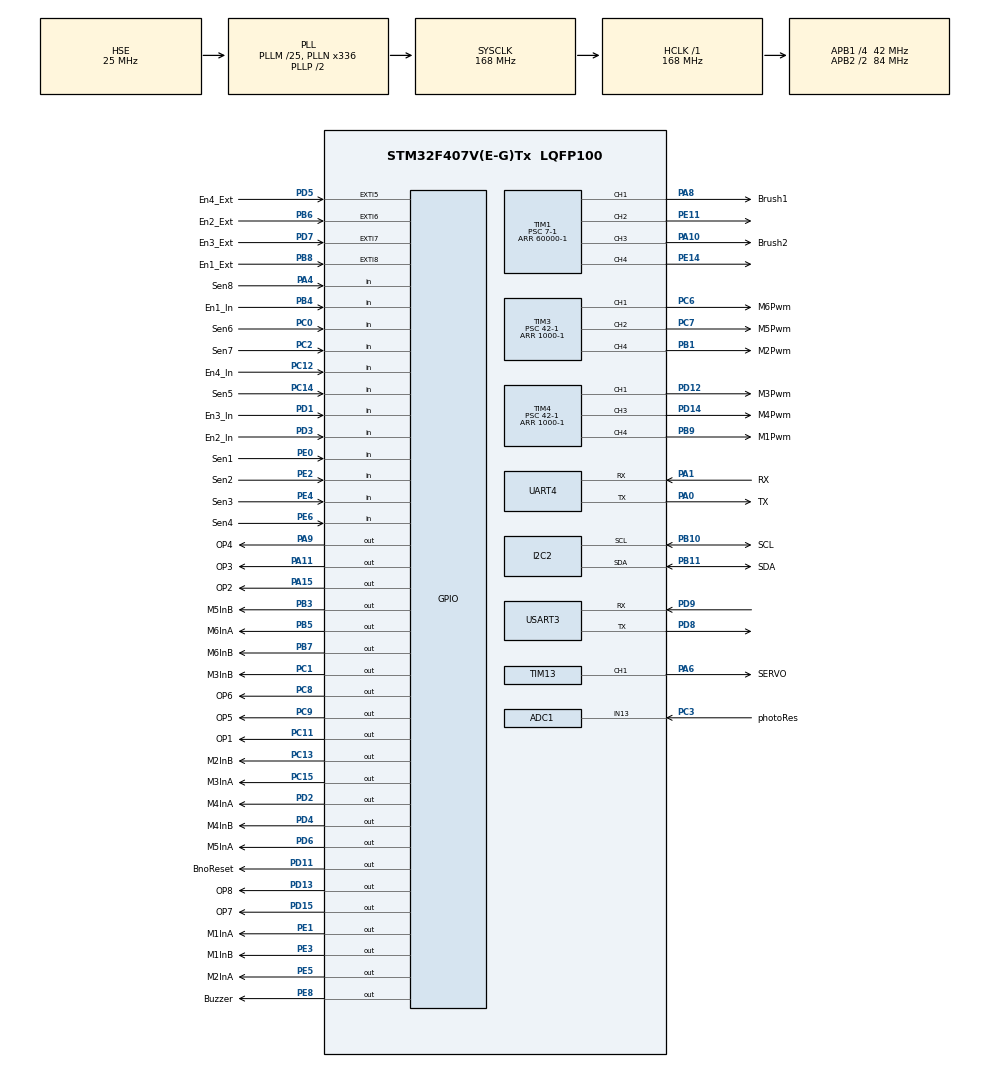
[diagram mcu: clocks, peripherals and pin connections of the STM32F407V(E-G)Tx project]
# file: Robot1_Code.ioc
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ADC1.Channel-0\#ChannelRegularConversion=ADC_CHANNEL_13
ADC1.NbrOfConversionFlag=1
ADC1.Rank-0\#ChannelRegularConversion=1
ADC1.SamplingTime-0\#ChannelRegularConversion=ADC_SAMPLETIME_3CYCLES
ADC1.master=1
Dma.Request0=UART4_TX
Dma.UART4_TX.0.Direction=DMA_MEMORY_TO_PERIPH
Dma.UART4_TX.0.FIFOMode=DMA_FIFOMODE_DISABLE
Dma.UART4_TX.0.Instance=DMA1_Stream4
Dma.UART4_TX.0.MemDataAlignment=DMA_MDATAALIGN_BYTE
Dma.UART4_TX.0.MemInc=DMA_MINC_ENABLE
Dma.UART4_TX.0.Mode=DMA_NORMAL
Dma.UART4_TX.0.PeriphDataAlignment=DMA_PDATAALIGN_BYTE
Dma.UART4_TX.0.PeriphInc=DMA_PINC_DISABLE
Dma.UART4_TX.0.Priority=DMA_PRIORITY_LOW
I2C2.I2C_Mode=I2C_Fast
Mcu.Family=STM32F4
Mcu.Name=STM32F407V(E-G)Tx
Mcu.Package=LQFP100
NVIC.DMA1_Stream4_IRQn=true\:0\:0\:false\:false\:true\:false\:true\:true
NVIC.EXTI9_5_IRQn=true\:0\:0\:false\:false\:true\:true\:true\:true
NVIC.PriorityGroup=NVIC_PRIORITYGROUP_4
NVIC.TIM7_IRQn=true\:0\:0\:false\:false\:true\:true\:true\:true
NVIC.USART3_IRQn=true\:0\:0\:false\:false\:true\:true\:true\:true
PA0-WKUP.GPIO_Label=TX
PA0-WKUP.Mode=Asynchronous
PA0-WKUP.Signal=UART4_TX
PA1.GPIO_Label=RX
PA1.Mode=Asynchronous
PA1.Signal=UART4_RX
PA10.GPIO_Label=Brush2
PA10.Signal=S_TIM1_CH3
PA11.GPIO_Label=OP3
PA11.Signal=GPIO_Output
PA13.Mode=Serial_Wire
PA13.Signal=SYS_JTMS-SWDIO
PA14.Mode=Serial_Wire
PA14.Signal=SYS_JTCK-SWCLK
PA15.GPIO_Label=OP2
PA15.Signal=GPIO_Output
PA4.GPIO_Label=Sen8
PA4.GPIO_PuPd=GPIO_PULLUP
PA4.Signal=GPIO_Input
PA6.GPIO_Label=SERVO
PA6.Signal=S_TIM13_CH1
PA8.GPIO_Label=Brush1
PA8.Signal=S_TIM1_CH1
PA9.GPIO_Label=OP4
PA9.Signal=GPIO_Output
PB1.GPIO_Label=M2Pwm
PB1.Signal=S_TIM3_CH4
PB10.GPIO_Label=SCL
PB10.Mode=I2C
PB10.Signal=I2C2_SCL
PB11.GPIO_Label=SDA
PB11.Mode=I2C
PB11.Signal=I2C2_SDA
PB3.GPIO_Label=M5InB
PB3.Signal=GPIO_Output
PB4.GPIO_Label=En1_In
PB4.GPIO_PuPd=GPIO_PULLUP
PB4.Signal=GPIO_Input
PB5.GPIO_Label=M6InA
PB5.Signal=GPIO_Output
PB6.GPIO_Label=En2_Ext
PB6.GPIO_ModeDefaultEXTI=GPIO_MODE_IT_RISING
PB6.Signal=GPXTI6
PB7.GPIO_Label=M6InB
PB7.Signal=GPIO_Output
PB8.GPIO_Label=En1_Ext
PB8.Signal=GPXTI8
PB9.GPIO_Label=M1Pwm
PB9.Signal=S_TIM4_CH4
PC0.GPIO_Label=Sen6
PC0.GPIO_PuPd=GPIO_PULLUP
PC0.Signal=GPIO_Input
PC1.GPIO_Label=M3InB
PC1.Signal=GPIO_Output
PC11.GPIO_Label=OP1
PC11.Signal=GPIO_Output
PC12.GPIO_Label=En4_In
PC12.GPIO_PuPd=GPIO_PULLUP
PC12.Signal=GPIO_Input
PC13-ANTI_TAMP.GPIO_Label=M2InB
PC13-ANTI_TAMP.Signal=GPIO_Output
PC14-OSC32_IN.GPIO_Label=Sen5
PC14-OSC32_IN.GPIO_PuPd=GPIO_PULLUP
PC14-OSC32_IN.Signal=GPIO_Input
PC15-OSC32_OUT.GPIO_Label=M3InA
PC15-OSC32_OUT.Signal=GPIO_Output
PC2.GPIO_Label=Sen7
PC2.GPIO_PuPd=GPIO_PULLUP
PC2.Signal=GPIO_Input
PC3.GPIO_Label=photoRes
PC3.Signal=SharedAnalog_PC3
PC6.GPIO_Label=M6Pwm
PC6.Signal=S_TIM3_CH1
PC7.GPIO_Label=M5Pwm
PC7.Signal=S_TIM3_CH2
PC8.GPIO_Label=OP6
PC8.Signal=GPIO_Output
PC9.GPIO_Label=OP5
PC9.Signal=GPIO_Output
PD1.GPIO_Label=En3_In
PD1.GPIO_PuPd=GPIO_PULLUP
PD1.Signal=GPIO_Input
PD11.GPIO_Label=BnoReset
PD11.Signal=GPIO_Output
PD12.GPIO_Label=M3Pwm
PD12.Signal=S_TIM4_CH1
PD13.GPIO_Label=OP8
PD13.Signal=GPIO_Output
PD14.GPIO_Label=M4Pwm
PD14.Signal=S_TIM4_CH3
PD15.GPIO_Label=OP7
PD15.Signal=GPIO_Output
PD2.GPIO_Label=M4InA
PD2.Signal=GPIO_Output
PD3.GPIO_Label=En2_In
PD3.GPIO_PuPd=GPIO_PULLUP
PD3.Signal=GPIO_Input
PD4.GPIO_Label=M4InB
PD4.Signal=GPIO_Output
PD5.GPIO_Label=En4_Ext
PD5.Signal=GPXTI5
PD6.GPIO_Label=M5InA
PD6.Signal=GPIO_Output
PD7.GPIO_Label=En3_Ext
PD7.Signal=GPXTI7
PD8.Mode=Asynchronous
PD8.Signal=USART3_TX
PD9.Mode=Asynchronous
PD9.Signal=USART3_RX
PE0.GPIO_Label=Sen1
PE0.GPIO_PuPd=GPIO_PULLUP
PE0.Signal=GPIO_Input
PE1.GPIO_Label=M1InA
PE1.Signal=GPIO_Output
PE11.Signal=S_TIM1_CH2
PE14.Signal=S_TIM1_CH4
PE2.GPIO_Label=Sen2
PE2.GPIO_PuPd=GPIO_PULLUP
PE2.Signal=GPIO_Input
PE3.GPIO_Label=M1InB
PE3.Signal=GPIO_Output
PE4.GPIO_Label=Sen3
PE4.GPIO_PuPd=GPIO_PULLUP
PE4.Signal=GPIO_Input
PE5.GPIO_Label=M2InA
PE5.Signal=GPIO_Output
PE6.GPIO_Label=Sen4
PE6.GPIO_PuPd=GPIO_PULLUP
PE6.Signal=GPIO_Input
PE8.GPIO_Label=Buzzer
PE8.Signal=GPIO_Output
PH0-OSC_IN.Mode=HSE-External-Oscillator
PH0-OSC_IN.Signal=RCC_OSC_IN
PH1-OSC_OUT.Mode=HSE-External-Oscillator
PH1-OSC_OUT.Signal=RCC_OSC_OUT
ProjectManager.HeapSize=0x200
ProjectManager.StackSize=0x400
ProjectManager.TargetToolchain=CMake
RCC.48MHZClocksFreq_Value=48000000
RCC.AHBFreq_Value=168000000
RCC.APB1CLKDivider=RCC_HCLK_DIV4
RCC.APB1Freq_Value=42000000
RCC.APB1TimFreq_Value=84000000
RCC.APB2CLKDivider=RCC_HCLK_DIV2
RCC.APB2Freq_Value=84000000
RCC.APB2TimFreq_Value=168000000
RCC.CortexFreq_Value=168000000
RCC.HCLKFreq_Value=168000000
RCC.HSE_VALUE=25000000
RCC.HSI_VALUE=16000000
RCC.LSE_VALUE=32768
RCC.PLLM=25
RCC.PLLN=336
RCC.PLLQ=7
RCC.PLLSourceVirtual=RCC_PLLSOURCE_HSE
RCC.SYSCLKFreq_VALUE=168000000
RCC.SYSCLKSource=RCC_SYSCLKSOURCE_PLLCLK
RCC.VCOOutputFreq_Value=336000000
SH.S_TIM13_CH1.0=TIM13_CH1,PWM Generation1 CH1
SH.S_TIM1_CH1.0=TIM1_CH1,PWM Generation1 CH1
SH.S_TIM1_CH2.0=TIM1_CH2,PWM Generation2 CH2
SH.S_TIM1_CH3.0=TIM1_CH3,PWM Generation3 CH3
SH.S_TIM1_CH4.0=TIM1_CH4,PWM Generation4 CH4
SH.S_TIM3_CH1.0=TIM3_CH1,PWM Generation1 CH1
SH.S_TIM3_CH2.0=TIM3_CH2,PWM Generation2 CH2
SH.S_TIM3_CH4.0=TIM3_CH4,PWM Generation4 CH4
SH.S_TIM4_CH1.0=TIM4_CH1,PWM Generation1 CH1
SH.S_TIM4_CH3.0=TIM4_CH3,PWM Generation3 CH3
SH.S_TIM4_CH4.0=TIM4_CH4,PWM Generation4 CH4
SH.SharedAnalog_PC3.0=GPIO_Analog
SH.SharedAnalog_PC3.1=ADC1_IN13,IN13
TIM1.Channel-PWM\ Generation1\ CH1=TIM_CHANNEL_1
TIM1.Channel-PWM\ Generation2\ CH2=TIM_CHANNEL_2
TIM1.Channel-PWM\ Generation3\ CH3=TIM_CHANNEL_3
TIM1.Channel-PWM\ Generation4\ CH4=TIM_CHANNEL_4
TIM1.Period=60000-1
TIM1.Prescaler=7-1
TIM13.Channel=TIM_CHANNEL_1
TIM13.Period=19999
TIM13.Prescaler=83
TIM13.Pulse=1500
TIM3.Channel-PWM\ Generation1\ CH1=TIM_CHANNEL_1
TIM3.Channel-PWM\ Generation2\ CH2=TIM_CHANNEL_2
TIM3.Channel-PWM\ Generation4\ CH4=TIM_CHANNEL_4
TIM3.Period=1000-1
TIM3.Prescaler=42-1
TIM4.Channel-PWM\ Generation1\ CH1=TIM_CHANNEL_1
TIM4.Channel-PWM\ Generation3\ CH3=TIM_CHANNEL_3
TIM4.Channel-PWM\ Generation4\ CH4=TIM_CHANNEL_4
TIM4.Period=1000-1
TIM4.Prescaler=42-1
TIM7.Period=1000-1
TIM7.Prescaler=42-1
UART4.VirtualMode=Asynchronous
USART3.VirtualMode=VM_ASYNC
VP_TIM13_VS_ClockSourceINT.Mode=Enable_Timer
VP_TIM1_VS_ClockSourceINT.Mode=Internal
VP_TIM4_VS_ClockSourceINT.Mode=Internal
VP_TIM7_VS_ClockSourceINT.Mode=Enable_Timer
board=custom

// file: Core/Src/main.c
/* USER CODE BEGIN Header */
/**
 ******************************************************************************
 * @file           : main.c
 * @brief          : Main program body
 ******************************************************************************
 * @attention
 *
 * Copyright (c) 2025 STMicroelectronics.
 * All rights reserved.
 *
 * This software is licensed under terms that can be found in the LICENSE file
 * in the root directory of this software component.
 * If no LICENSE file comes with this software, it is provided AS-IS.
 *
 ***************************************c***************************************
 */
/* USER CODE END Header */
#include "main.h"

/* USER CODE BEGIN Includes */
#include "general.h"
#include "test.h"
#include <stdio.h>
/* USER CODE END Includes */

/* USER CODE BEGIN PD */
/* ---- Robot1 2 PCB сонголт: build хийхээсээ ӨМНӨ 1/2 болгож сольж flash --- */
#define R1_PCB 2 // 1 = 1-р PCB (жолоо/актуатор),  2 = 2-р PCB
/* USER CODE END PD */

ADC_HandleTypeDef hadc1;

I2C_HandleTypeDef hi2c2;

TIM_HandleTypeDef htim1;
TIM_HandleTypeDef htim3;
TIM_HandleTypeDef htim4;
TIM_HandleTypeDef htim7;
TIM_HandleTypeDef htim13;

UART_HandleTypeDef huart4;
UART_HandleTypeDef huart3;
DMA_HandleTypeDef hdma_uart4_tx;

void SystemClock_Config(void);
static void MX_GPIO_Init(void);
static void MX_DMA_Init(void);
static void MX_I2C2_Init(void);
static void MX_TIM1_Init(void);
static void MX_UART4_Init(void);
static void MX_USART3_UART_Init(void);
static void MX_TIM3_Init(void);
static void MX_TIM4_Init(void);
static void MX_TIM7_Init(void);
static void MX_TIM13_Init(void);
static void MX_ADC1_Init(void);
/* USER CODE BEGIN PFP */

int control_data[5][4] = {0};

void send_DMA(uint8_t command) {
  HAL_UART_Transmit(&huart4, &command, 1, HAL_MAX_DELAY);
}
uint8_t information[23]; // шинэ урт
uint8_t rx_idx = 0;
uint8_t data;

/* ---- 2 PCB хоорондын UART4 холбоо: [0x0A][pwm1][pwm2][pwm3][0x0D]
 * ------------ PCB1 → r1_link_send3(p1,p2,p3),  PCB2 ← RX callback
 * (r1_link_p1/2/3). ⚠ PCB1 UART4_TX(PA0) → PCB2 UART4_RX(PA1) + GND утсаар
 * холбоно.               */
volatile uint8_t r1_link_p1 = 100; // PCB2: ирсэн pwm1 (100 = нейтрал/зогсох)
volatile uint8_t r1_link_p2 = 100; // PCB2: ирсэн pwm2
volatile uint8_t r1_link_p3 = 100; // PCB2: ирсэн pwm3
volatile uint8_t r1_link_new = 0;  // 1 = шинэ багц ирлээ (уншаад 0 болгоно)
static uint8_t link_byte = 0;      // UART4 RX буфер (1 байт)
static uint8_t link_state = 0;     // 0=START 1..3=pwm 4=END
static uint8_t link_tmp[3] = {0};  // задарч буй pwm-ууд

/* PCB1 → PCB2: [0x0A][p1][p2][p3][0x0D] (UART4 TX, blocking богино) */
void r1_link_send3(uint8_t p1, uint8_t p2, uint8_t p3) {
  uint8_t pkt[5] = {0x0A, p1, p2, p3, 0x0D};
  HAL_UART_Transmit(&huart4, pkt, 5, 5);
}

/* -----------------------------------------------------------------------------
 *  HAL_UART_RxCpltCallback — ESP32-оос ирсэн PS5 багцыг задлах (huart3, 1
 * байт/удаа)
 *
 *  Багц: 23 байт,  [0]=0xAA (START) ... [22]=0x0A (END),  [21]=холболтын флаг.
 *  START байт хүлээж, 23 байт бүрдэхэд задалж control_data[5][4]-д хийнэ.
 *
 *  ─ Джойстик (information[1..4] − 100 → control_data[0][0..3], утга −100..100)
 * ─ control_data[0][0] = Зүүн стик X       control_data[0][2] = Баруун стик X
 *      control_data[0][1] = Зүүн стик Y       control_data[0][3] = Баруун стик
 * Y
 *
 *  ─ Товч (information[5..20] → control_data[1..4][0..3], утга 0/1) ─
 *      control_data[1][0]=Cross    [1][1]=Square   [1][2]=Triangle
 * [1][3]=Circle control_data[2][0]=D-Down   [2][1]=D-Right  [2][2]=D-Up
 * [2][3]=D-Left control_data[3][0]=L1       [3][1]=R1       [3][2]=L2 [3][3]=R2
 *      control_data[4][0]=Share    [4][1]=Options  [4][2]=L3       [4][3]=R3
 *
 *  Холбогдоогүй (флаг = 0) бол бүх утгыг 0 болгож цэвэрлэнэ.
 * -----------------------------------------------------------------------------
 */
void HAL_UART_RxCpltCallback(UART_HandleTypeDef *huart) {
  if (huart == &huart3) {
    if (rx_idx == 0 && data != 0xAA) {
      HAL_UART_Receive_IT(&huart3, &data, 1);
      return;
    }

    information[rx_idx++] = data;

    if (rx_idx == 23 && information[22] == 0x0A) {
      uint8_t isConnected = information[21];

      if (isConnected == 1) {
        // --- Джойстик: information[1..4] → control_data[0][0..3], төв 100-г
        // хасаж -100..100 ---
        //   [0][0]=LStickX  [0][1]=LStickY  [0][2]=RStickX  [0][3]=RStickY
        for (int i = 0; i < 4; i++) {
          control_data[0][i] = information[1 + i] - 100;
        }

        // --- Товч: information[5..20] → control_data[1..4][0..3] (0/1) ---
        //   мөр 1 = Cross/Square/Triangle/Circle
        //   мөр 2 = D-pad Down/Right/Up/Left
        //   мөр 3 = L1/R1/L2/R2
        //   мөр 4 = Share/Options/L3/R3
        for (int i = 0; i < 16; i++) {
          control_data[1 + (i / 4)][i % 4] = information[5 + i];
        }

      } else {
        // --- Холбогдоогүй: бүх джойстик/товчийг тэглэх ---
        for (int i = 0; i < 5; i++) {
          for (int j = 0; j < 4; j++) {
            control_data[i][j] = 0;
          }
        }
      }

      rx_idx = 0;
    } else if (rx_idx >= 23) {
      rx_idx = 0; // invalid
    }

    HAL_UART_Receive_IT(&huart3, &data, 1);
  } else if (huart == &huart4) {
    /* PCB2: [0x0A][p1][p2][p3][0x0D] багцыг задлана */
    switch (link_state) {
    case 0:
      if (link_byte == 0x0A)
        link_state = 1;
      break; // START
    case 1:
      link_tmp[0] = link_byte;
      link_state = 2;
      break; // pwm1
    case 2:
      link_tmp[1] = link_byte;
      link_state = 3;
      break; // pwm2
    case 3:
      link_tmp[2] = link_byte;
      link_state = 4;
      break; // pwm3
    default: // END
      if (link_byte == 0x0D) {
        r1_link_p1 = link_tmp[0];
        r1_link_p2 = link_tmp[1];
        r1_link_p3 = link_tmp[2];
        r1_link_new = 1;
      }
      link_state = 0;
      break;
    }
    HAL_UART_Receive_IT(&huart4, &link_byte, 1);
  }
}

/* USER CODE END PFP */

/* USER CODE BEGIN 0 */

extern int timer;
extern int counter[4];

uint8_t usb_received_value = 0;
uint8_t usb_new_data_flag = 0;

/* USER CODE END 0 */

int main(void) {

  /* MCU Configuration--------------------------------------------------------*/

  /* Reset of all peripherals, Initializes the Flash interface and the Systick.
   */
  HAL_Init();

  /* Configure the system clock */
  SystemClock_Config();

  /* Initialize all configured peripherals */
  MX_GPIO_Init();
  MX_DMA_Init();
  MX_I2C2_Init();
  MX_TIM1_Init();
  MX_UART4_Init();
  MX_USART3_UART_Init();
  MX_TIM3_Init();
  MX_TIM4_Init();
  MX_TIM7_Init();
  MX_TIM13_Init();
  MX_ADC1_Init();
  /* USER CODE BEGIN 2 */
  generalInit();

#if R1_PCB == 2
  /* PCB2: PCB1-ээс UART4 команд хүлээж авахаар RX interrupt-ыг зэвсэглэнэ */
  HAL_UART_Receive_IT(&huart4, &link_byte, 1);
#endif

  /* ГАР УДИРДЛАГАТАЙ РОБОТ (manual)
   *   Autonomous хэсэг (LPMS gyro, sequence, red/blue) хасагдсан.
   *   PS5 джойстикоор differential (tank) жолоодоно; серво/соленоид/brush зэрэг
   *   товчны удирдлагыг while(1) дотор нэмнэ.
   */
  /* USER CODE END 2 */

  /* Infinite loop */
  /* USER CODE BEGIN WHILE */
  while (1) {
    /* R1_PCB (PD хэсэгт) сонголтоор тухайн PCB-ийн удирдлага ажиллана */
#if R1_PCB == 1
    robot1_pcb1(); // 1-р PCB: жолоо + соленоид + мотор 5/6
#else
    robot1_pcb2(); // 2-р PCB
#endif
  }
  /* USER CODE END WHILE */

}

void SystemClock_Config(void) {
  RCC_OscInitTypeDef RCC_OscInitStruct = {0};
  RCC_ClkInitTypeDef RCC_ClkInitStruct = {0};

  /** Configure the main internal regulator output voltage
   */
  __HAL_RCC_PWR_CLK_ENABLE();
  __HAL_PWR_VOLTAGESCALING_CONFIG(PWR_REGULATOR_VOLTAGE_SCALE1);

  /** Initializes the RCC Oscillators according to the specified parameters
   * in the RCC_OscInitTypeDef structure.
   */
  RCC_OscInitStruct.OscillatorType = RCC_OSCILLATORTYPE_HSE;
  RCC_OscInitStruct.HSEState = RCC_HSE_ON;
  RCC_OscInitStruct.PLL.PLLState = RCC_PLL_ON;
  RCC_OscInitStruct.PLL.PLLSource = RCC_PLLSOURCE_HSE;
  RCC_OscInitStruct.PLL.PLLM = 25;
  RCC_OscInitStruct.PLL.PLLN = 336;
  RCC_OscInitStruct.PLL.PLLP = RCC_PLLP_DIV2;
  RCC_OscInitStruct.PLL.PLLQ = 7;
  if (HAL_RCC_OscConfig(&RCC_OscInitStruct) != HAL_OK) {
    Error_Handler();
  }

  /** Initializes the CPU, AHB and APB buses clocks
   */
  RCC_ClkInitStruct.ClockType = RCC_CLOCKTYPE_HCLK | RCC_CLOCKTYPE_SYSCLK |
                                RCC_CLOCKTYPE_PCLK1 | RCC_CLOCKTYPE_PCLK2;
  RCC_ClkInitStruct.SYSCLKSource = RCC_SYSCLKSOURCE_PLLCLK;
  RCC_ClkInitStruct.AHBCLKDivider = RCC_SYSCLK_DIV1;
  RCC_ClkInitStruct.APB1CLKDivider = RCC_HCLK_DIV4;
  RCC_ClkInitStruct.APB2CLKDivider = RCC_HCLK_DIV2;

  if (HAL_RCC_ClockConfig(&RCC_ClkInitStruct, FLASH_LATENCY_5) != HAL_OK) {
    Error_Handler();
  }
}

static void MX_ADC1_Init(void) {

  ADC_ChannelConfTypeDef sConfig = {0};

  /** Configure the global features of the ADC (Clock, Resolution, Data
   * Alignment and number of conversion)
   */
  hadc1.Instance = ADC1;
  hadc1.Init.ClockPrescaler = ADC_CLOCK_SYNC_PCLK_DIV4;
  hadc1.Init.Resolution = ADC_RESOLUTION_12B;
  hadc1.Init.ScanConvMode = DISABLE;
  hadc1.Init.ContinuousConvMode = DISABLE;
  hadc1.Init.DiscontinuousConvMode = DISABLE;
  hadc1.Init.ExternalTrigConvEdge = ADC_EXTERNALTRIGCONVEDGE_NONE;
  hadc1.Init.ExternalTrigConv = ADC_SOFTWARE_START;
  hadc1.Init.DataAlign = ADC_DATAALIGN_RIGHT;
  hadc1.Init.NbrOfConversion = 1;
  hadc1.Init.DMAContinuousRequests = DISABLE;
  hadc1.Init.EOCSelection = ADC_EOC_SINGLE_CONV;
  if (HAL_ADC_Init(&hadc1) != HAL_OK) {
    Error_Handler();
  }

  /** Configure for the selected ADC regular channel its corresponding rank in
   * the sequencer and its sample time.
   */
  sConfig.Channel = ADC_CHANNEL_13;
  sConfig.Rank = 1;
  sConfig.SamplingTime = ADC_SAMPLETIME_3CYCLES;
  if (HAL_ADC_ConfigChannel(&hadc1, &sConfig) != HAL_OK) {
    Error_Handler();
  }
}

static void MX_I2C2_Init(void) {

  hi2c2.Instance = I2C2;
  hi2c2.Init.ClockSpeed = 400000;
  hi2c2.Init.DutyCycle = I2C_DUTYCYCLE_2;
  hi2c2.Init.OwnAddress1 = 0;
  hi2c2.Init.AddressingMode = I2C_ADDRESSINGMODE_7BIT;
  hi2c2.Init.DualAddressMode = I2C_DUALADDRESS_DISABLE;
  hi2c2.Init.OwnAddress2 = 0;
  hi2c2.Init.GeneralCallMode = I2C_GENERALCALL_DISABLE;
  hi2c2.Init.NoStretchMode = I2C_NOSTRETCH_DISABLE;
  if (HAL_I2C_Init(&hi2c2) != HAL_OK) {
    Error_Handler();
  }
}

static void MX_TIM1_Init(void) {

  TIM_ClockConfigTypeDef sClockSourceConfig = {0};
  TIM_MasterConfigTypeDef sMasterConfig = {0};
  TIM_OC_InitTypeDef sConfigOC = {0};
  TIM_BreakDeadTimeConfigTypeDef sBreakDeadTimeConfig = {0};

  htim1.Instance = TIM1;
  htim1.Init.Prescaler = 7 - 1;
  htim1.Init.CounterMode = TIM_COUNTERMODE_UP;
  htim1.Init.Period = 60000 - 1;
  htim1.Init.ClockDivision = TIM_CLOCKDIVISION_DIV1;
  htim1.Init.RepetitionCounter = 0;
  htim1.Init.AutoReloadPreload = TIM_AUTORELOAD_PRELOAD_DISABLE;
  if (HAL_TIM_Base_Init(&htim1) != HAL_OK) {
    Error_Handler();
  }
  sClockSourceConfig.ClockSource = TIM_CLOCKSOURCE_INTERNAL;
  if (HAL_TIM_ConfigClockSource(&htim1, &sClockSourceConfig) != HAL_OK) {
    Error_Handler();
  }
  if (HAL_TIM_PWM_Init(&htim1) != HAL_OK) {
    Error_Handler();
  }
  sMasterConfig.MasterOutputTrigger = TIM_TRGO_RESET;
  sMasterConfig.MasterSlaveMode = TIM_MASTERSLAVEMODE_DISABLE;
  if (HAL_TIMEx_MasterConfigSynchronization(&htim1, &sMasterConfig) != HAL_OK) {
    Error_Handler();
  }
  sConfigOC.OCMode = TIM_OCMODE_PWM1;
  sConfigOC.Pulse = 0;
  sConfigOC.OCPolarity = TIM_OCPOLARITY_HIGH;
  sConfigOC.OCNPolarity = TIM_OCNPOLARITY_HIGH;
  sConfigOC.OCFastMode = TIM_OCFAST_DISABLE;
  sConfigOC.OCIdleState = TIM_OCIDLESTATE_RESET;
  sConfigOC.OCNIdleState = TIM_OCNIDLESTATE_RESET;
  if (HAL_TIM_PWM_ConfigChannel(&htim1, &sConfigOC, TIM_CHANNEL_1) != HAL_OK) {
    Error_Handler();
  }
  if (HAL_TIM_PWM_ConfigChannel(&htim1, &sConfigOC, TIM_CHANNEL_2) != HAL_OK) {
    Error_Handler();
  }
  if (HAL_TIM_PWM_ConfigChannel(&htim1, &sConfigOC, TIM_CHANNEL_3) != HAL_OK) {
    Error_Handler();
  }
  if (HAL_TIM_PWM_ConfigChannel(&htim1, &sConfigOC, TIM_CHANNEL_4) != HAL_OK) {
    Error_Handler();
  }
  sBreakDeadTimeConfig.OffStateRunMode = TIM_OSSR_DISABLE;
  sBreakDeadTimeConfig.OffStateIDLEMode = TIM_OSSI_DISABLE;
  sBreakDeadTimeConfig.LockLevel = TIM_LOCKLEVEL_OFF;
  sBreakDeadTimeConfig.DeadTime = 0;
  sBreakDeadTimeConfig.BreakState = TIM_BREAK_DISABLE;
  sBreakDeadTimeConfig.BreakPolarity = TIM_BREAKPOLARITY_HIGH;
  sBreakDeadTimeConfig.AutomaticOutput = TIM_AUTOMATICOUTPUT_DISABLE;
  if (HAL_TIMEx_ConfigBreakDeadTime(&htim1, &sBreakDeadTimeConfig) != HAL_OK) {
    Error_Handler();
  }
  HAL_TIM_MspPostInit(&htim1);
}

static void MX_TIM3_Init(void) {

  TIM_MasterConfigTypeDef sMasterConfig = {0};
  TIM_OC_InitTypeDef sConfigOC = {0};

  htim3.Instance = TIM3;
  htim3.Init.Prescaler = 42 - 1;
  htim3.Init.CounterMode = TIM_COUNTERMODE_UP;
  htim3.Init.Period = 1000 - 1;
  htim3.Init.ClockDivision = TIM_CLOCKDIVISION_DIV1;
  htim3.Init.AutoReloadPreload = TIM_AUTORELOAD_PRELOAD_DISABLE;
  if (HAL_TIM_PWM_Init(&htim3) != HAL_OK) {
    Error_Handler();
  }
  sMasterConfig.MasterOutputTrigger = TIM_TRGO_RESET;
  sMasterConfig.MasterSlaveMode = TIM_MASTERSLAVEMODE_DISABLE;
  if (HAL_TIMEx_MasterConfigSynchronization(&htim3, &sMasterConfig) != HAL_OK) {
    Error_Handler();
  }
  sConfigOC.OCMode = TIM_OCMODE_PWM1;
  sConfigOC.Pulse = 0;
  sConfigOC.OCPolarity = TIM_OCPOLARITY_HIGH;
  sConfigOC.OCFastMode = TIM_OCFAST_DISABLE;
  if (HAL_TIM_PWM_ConfigChannel(&htim3, &sConfigOC, TIM_CHANNEL_1) != HAL_OK) {
    Error_Handler();
  }
  if (HAL_TIM_PWM_ConfigChannel(&htim3, &sConfigOC, TIM_CHANNEL_2) != HAL_OK) {
    Error_Handler();
  }
  if (HAL_TIM_PWM_ConfigChannel(&htim3, &sConfigOC, TIM_CHANNEL_4) != HAL_OK) {
    Error_Handler();
  }
  HAL_TIM_MspPostInit(&htim3);
}

static void MX_TIM4_Init(void) {

  TIM_ClockConfigTypeDef sClockSourceConfig = {0};
  TIM_MasterConfigTypeDef sMasterConfig = {0};
  TIM_OC_InitTypeDef sConfigOC = {0};

  htim4.Instance = TIM4;
  htim4.Init.Prescaler = 42 - 1;
  htim4.Init.CounterMode = TIM_COUNTERMODE_UP;
  htim4.Init.Period = 1000 - 1;
  htim4.Init.ClockDivision = TIM_CLOCKDIVISION_DIV1;
  htim4.Init.AutoReloadPreload = TIM_AUTORELOAD_PRELOAD_DISABLE;
  if (HAL_TIM_Base_Init(&htim4) != HAL_OK) {
    Error_Handler();
  }
  sClockSourceConfig.ClockSource = TIM_CLOCKSOURCE_INTERNAL;
  if (HAL_TIM_ConfigClockSource(&htim4, &sClockSourceConfig) != HAL_OK) {
    Error_Handler();
  }
  if (HAL_TIM_PWM_Init(&htim4) != HAL_OK) {
    Error_Handler();
  }
  sMasterConfig.MasterOutputTrigger = TIM_TRGO_RESET;
  sMasterConfig.MasterSlaveMode = TIM_MASTERSLAVEMODE_DISABLE;
  if (HAL_TIMEx_MasterConfigSynchronization(&htim4, &sMasterConfig) != HAL_OK) {
    Error_Handler();
  }
  sConfigOC.OCMode = TIM_OCMODE_PWM1;
  sConfigOC.Pulse = 0;
  sConfigOC.OCPolarity = TIM_OCPOLARITY_HIGH;
  sConfigOC.OCFastMode = TIM_OCFAST_DISABLE;
  if (HAL_TIM_PWM_ConfigChannel(&htim4, &sConfigOC, TIM_CHANNEL_1) != HAL_OK) {
    Error_Handler();
  }
  if (HAL_TIM_PWM_ConfigChannel(&htim4, &sConfigOC, TIM_CHANNEL_3) != HAL_OK) {
    Error_Handler();
  }
  if (HAL_TIM_PWM_ConfigChannel(&htim4, &sConfigOC, TIM_CHANNEL_4) != HAL_OK) {
    Error_Handler();
  }
  HAL_TIM_MspPostInit(&htim4);
}

static void MX_TIM7_Init(void) {

  TIM_MasterConfigTypeDef sMasterConfig = {0};

  htim7.Instance = TIM7;
  htim7.Init.Prescaler = 42 - 1;
  htim7.Init.CounterMode = TIM_COUNTERMODE_UP;
  htim7.Init.Period = 1000 - 1;
  htim7.Init.AutoReloadPreload = TIM_AUTORELOAD_PRELOAD_DISABLE;
  if (HAL_TIM_Base_Init(&htim7) != HAL_OK) {
    Error_Handler();
  }
  sMasterConfig.MasterOutputTrigger = TIM_TRGO_RESET;
  sMasterConfig.MasterSlaveMode = TIM_MASTERSLAVEMODE_DISABLE;
  if (HAL_TIMEx_MasterConfigSynchronization(&htim7, &sMasterConfig) != HAL_OK) {
    Error_Handler();
  }
}

static void MX_TIM13_Init(void) {

  TIM_OC_InitTypeDef sConfigOC = {0};

  htim13.Instance = TIM13;
  htim13.Init.Prescaler = 83;
  htim13.Init.CounterMode = TIM_COUNTERMODE_UP;
  htim13.Init.Period = 19999;
  htim13.Init.ClockDivision = TIM_CLOCKDIVISION_DIV1;
  htim13.Init.AutoReloadPreload = TIM_AUTORELOAD_PRELOAD_DISABLE;
  if (HAL_TIM_Base_Init(&htim13) != HAL_OK) {
    Error_Handler();
  }
  if (HAL_TIM_PWM_Init(&htim13) != HAL_OK) {
    Error_Handler();
  }
  sConfigOC.OCMode = TIM_OCMODE_PWM1;
  sConfigOC.Pulse = 1500;
  sConfigOC.OCPolarity = TIM_OCPOLARITY_HIGH;
  sConfigOC.OCFastMode = TIM_OCFAST_DISABLE;
  if (HAL_TIM_PWM_ConfigChannel(&htim13, &sConfigOC, TIM_CHANNEL_1) != HAL_OK) {
    Error_Handler();
  }
  HAL_TIM_MspPostInit(&htim13);
}

static void MX_UART4_Init(void) {

  huart4.Instance = UART4;
  huart4.Init.BaudRate = 115200;
  huart4.Init.WordLength = UART_WORDLENGTH_8B;
  huart4.Init.StopBits = UART_STOPBITS_1;
  huart4.Init.Parity = UART_PARITY_NONE;
  huart4.Init.Mode = UART_MODE_TX_RX;
  huart4.Init.HwFlowCtl = UART_HWCONTROL_NONE;
  huart4.Init.OverSampling = UART_OVERSAMPLING_16;
  if (HAL_UART_Init(&huart4) != HAL_OK) {
    Error_Handler();
  }
}

static void MX_USART3_UART_Init(void) {

  huart3.Instance = USART3;
  huart3.Init.BaudRate = 115200;
  huart3.Init.WordLength = UART_WORDLENGTH_8B;
  huart3.Init.StopBits = UART_STOPBITS_1;
  huart3.Init.Parity = UART_PARITY_NONE;
  huart3.Init.Mode = UART_MODE_TX_RX;
  huart3.Init.HwFlowCtl = UART_HWCONTROL_NONE;
  huart3.Init.OverSampling = UART_OVERSAMPLING_16;
  if (HAL_UART_Init(&huart3) != HAL_OK) {
    Error_Handler();
  }
}

static void MX_DMA_Init(void) {

  /* DMA controller clock enable */
  __HAL_RCC_DMA1_CLK_ENABLE();

  /* DMA interrupt init */
  /* DMA1_Stream4_IRQn interrupt configuration */
  HAL_NVIC_SetPriority(DMA1_Stream4_IRQn, 0, 0);
  HAL_NVIC_EnableIRQ(DMA1_Stream4_IRQn);
}

static void MX_GPIO_Init(void) {
  GPIO_InitTypeDef GPIO_InitStruct = {0};

  /* GPIO Ports Clock Enable */
  __HAL_RCC_GPIOE_CLK_ENABLE();
  __HAL_RCC_GPIOC_CLK_ENABLE();
  __HAL_RCC_GPIOH_CLK_ENABLE();
  __HAL_RCC_GPIOA_CLK_ENABLE();
  __HAL_RCC_GPIOB_CLK_ENABLE();
  __HAL_RCC_GPIOD_CLK_ENABLE();

  /*Configure GPIO pin Output Level */
  HAL_GPIO_WritePin(GPIOE, M1InB_Pin | M2InA_Pin | Buzzer_Pin | M1InA_Pin,
                    GPIO_PIN_RESET);

  /*Configure GPIO pin Output Level */
  HAL_GPIO_WritePin(
      GPIOC, M2InB_Pin | M3InA_Pin | M3InB_Pin | OP6_Pin | OP5_Pin | OP1_Pin,
      GPIO_PIN_RESET);

  /*Configure GPIO pin Output Level */
  HAL_GPIO_WritePin(GPIOD,
                    BnoReset_Pin | OP8_Pin | OP7_Pin | M4InA_Pin | M4InB_Pin |
                        M5InA_Pin,
                    GPIO_PIN_RESET);

  /*Configure GPIO pin Output Level */
  HAL_GPIO_WritePin(GPIOA, OP4_Pin | OP3_Pin | OP2_Pin, GPIO_PIN_RESET);

  /*Configure GPIO pin Output Level */
  HAL_GPIO_WritePin(GPIOB, M5InB_Pin | M6InA_Pin | M6InB_Pin, GPIO_PIN_RESET);

  /*Configure GPIO pins : Sen2_Pin Sen3_Pin Sen4_Pin Sen1_Pin */
  GPIO_InitStruct.Pin = Sen2_Pin | Sen3_Pin | Sen4_Pin | Sen1_Pin;
  GPIO_InitStruct.Mode = GPIO_MODE_INPUT;
  GPIO_InitStruct.Pull = GPIO_PULLUP;
  HAL_GPIO_Init(GPIOE, &GPIO_InitStruct);

  /*Configure GPIO pins : M1InB_Pin M2InA_Pin Buzzer_Pin M1InA_Pin */
  GPIO_InitStruct.Pin = M1InB_Pin | M2InA_Pin | Buzzer_Pin | M1InA_Pin;
  GPIO_InitStruct.Mode = GPIO_MODE_OUTPUT_PP;
  GPIO_InitStruct.Pull = GPIO_NOPULL;
  GPIO_InitStruct.Speed = GPIO_SPEED_FREQ_LOW;
  HAL_GPIO_Init(GPIOE, &GPIO_InitStruct);

  /*Configure GPIO pins : M2InB_Pin M3InA_Pin M3InB_Pin OP6_Pin
                           OP5_Pin OP1_Pin */
  GPIO_InitStruct.Pin =
      M2InB_Pin | M3InA_Pin | M3InB_Pin | OP6_Pin | OP5_Pin | OP1_Pin;
  GPIO_InitStruct.Mode = GPIO_MODE_OUTPUT_PP;
  GPIO_InitStruct.Pull = GPIO_NOPULL;
  GPIO_InitStruct.Speed = GPIO_SPEED_FREQ_LOW;
  HAL_GPIO_Init(GPIOC, &GPIO_InitStruct);

  /*Configure GPIO pins : Sen5_Pin Sen6_Pin Sen7_Pin En4_In_Pin */
  GPIO_InitStruct.Pin = Sen5_Pin | Sen6_Pin | Sen7_Pin | En4_In_Pin;
  GPIO_InitStruct.Mode = GPIO_MODE_INPUT;
  GPIO_InitStruct.Pull = GPIO_PULLUP;
  HAL_GPIO_Init(GPIOC, &GPIO_InitStruct);

  /*Configure GPIO pin : Sen8_Pin */
  GPIO_InitStruct.Pin = Sen8_Pin;
  GPIO_InitStruct.Mode = GPIO_MODE_INPUT;
  GPIO_InitStruct.Pull = GPIO_PULLUP;
  HAL_GPIO_Init(Sen8_GPIO_Port, &GPIO_InitStruct);

  /*Configure GPIO pins : BnoReset_Pin OP8_Pin OP7_Pin M4InA_Pin
                           M4InB_Pin M5InA_Pin */
  GPIO_InitStruct.Pin =
      BnoReset_Pin | OP8_Pin | OP7_Pin | M4InA_Pin | M4InB_Pin | M5InA_Pin;
  GPIO_InitStruct.Mode = GPIO_MODE_OUTPUT_PP;
  GPIO_InitStruct.Pull = GPIO_NOPULL;
  GPIO_InitStruct.Speed = GPIO_SPEED_FREQ_LOW;
  HAL_GPIO_Init(GPIOD, &GPIO_InitStruct);

  /*Configure GPIO pins : OP4_Pin OP3_Pin OP2_Pin */
  GPIO_InitStruct.Pin = OP4_Pin | OP3_Pin | OP2_Pin;
  GPIO_InitStruct.Mode = GPIO_MODE_OUTPUT_PP;
  GPIO_InitStruct.Pull = GPIO_NOPULL;
  GPIO_InitStruct.Speed = GPIO_SPEED_FREQ_LOW;
  HAL_GPIO_Init(GPIOA, &GPIO_InitStruct);

  /*Configure GPIO pins : En3_In_Pin En2_In_Pin */
  GPIO_InitStruct.Pin = En3_In_Pin | En2_In_Pin;
  GPIO_InitStruct.Mode = GPIO_MODE_INPUT;
  GPIO_InitStruct.Pull = GPIO_PULLUP;
  HAL_GPIO_Init(GPIOD, &GPIO_InitStruct);

  /*Configure GPIO pins : En4_Ext_Pin En3_Ext_Pin */
  GPIO_InitStruct.Pin = En4_Ext_Pin | En3_Ext_Pin;
  GPIO_InitStruct.Mode = GPIO_MODE_IT_RISING;
  GPIO_InitStruct.Pull = GPIO_NOPULL;
  HAL_GPIO_Init(GPIOD, &GPIO_InitStruct);

  /*Configure GPIO pins : M5InB_Pin M6InA_Pin M6InB_Pin */
  GPIO_InitStruct.Pin = M5InB_Pin | M6InA_Pin | M6InB_Pin;
  GPIO_InitStruct.Mode = GPIO_MODE_OUTPUT_PP;
  GPIO_InitStruct.Pull = GPIO_NOPULL;
  GPIO_InitStruct.Speed = GPIO_SPEED_FREQ_LOW;
  HAL_GPIO_Init(GPIOB, &GPIO_InitStruct);

  /*Configure GPIO pin : En1_In_Pin */
  GPIO_InitStruct.Pin = En1_In_Pin;
  GPIO_InitStruct.Mode = GPIO_MODE_INPUT;
  GPIO_InitStruct.Pull = GPIO_PULLUP;
  HAL_GPIO_Init(En1_In_GPIO_Port, &GPIO_InitStruct);

  /*Configure GPIO pins : En2_Ext_Pin En1_Ext_Pin */
  GPIO_InitStruct.Pin = En2_Ext_Pin | En1_Ext_Pin;
  GPIO_InitStruct.Mode = GPIO_MODE_IT_RISING;
  GPIO_InitStruct.Pull = GPIO_NOPULL;
  HAL_GPIO_Init(GPIOB, &GPIO_InitStruct);

  /* EXTI interrupt init*/
  HAL_NVIC_SetPriority(EXTI9_5_IRQn, 0, 0);
  HAL_NVIC_EnableIRQ(EXTI9_5_IRQn);

}

void Error_Handler(void) {
  __disable_irq();
  while (1) {
  }
}
#ifdef USE_FULL_ASSERT
/**
 * @brief  Reports the name of the source file and the source line number
 *         where the assert_param error has occurred.
 * @param  file: pointer to the source file name
 * @param  line: assert_param error line source number
 * @retval None
 */
void assert_failed(uint8_t *file, uint32_t line) {
  /* USER CODE BEGIN 6 */
  /* User can add his own implementation to report the file name and line
     number, ex: printf("Wrong parameters value: file %s on line %d\r\n", file,
     line) */
  /* USER CODE END 6 */
}
#endif /* USE_FULL_ASSERT */
